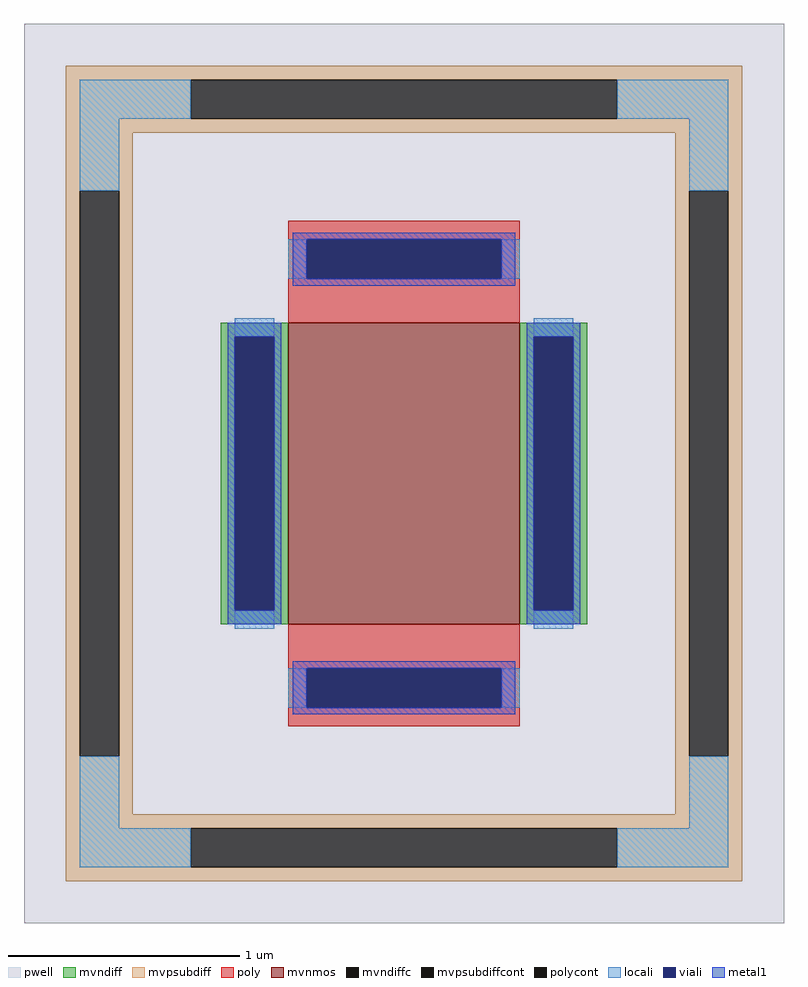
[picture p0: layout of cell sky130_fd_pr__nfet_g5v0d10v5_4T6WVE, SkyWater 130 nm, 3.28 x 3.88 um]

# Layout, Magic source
magic
tech sky130A
<< pwell >>
rect -164 -194 164 194
<< mvnmos >>
rect -50 -65 50 65
<< mvndiff >>
rect -79 59 -50 65
rect -79 -59 -73 59
rect -56 -59 -50 59
rect -79 -65 -50 -59
rect 50 59 79 65
rect 50 -59 56 59
rect 73 -59 79 59
rect 50 -65 79 -59
<< mvndiffc >>
rect -73 -59 -56 59
rect 56 -59 73 59
<< mvpsubdiff >>
rect -146 170 146 176
rect -146 153 -92 170
rect 92 153 146 170
rect -146 147 146 153
rect -146 122 -117 147
rect -146 -122 -140 122
rect -123 -122 -117 122
rect 117 122 146 147
rect -146 -147 -117 -122
rect 117 -122 123 122
rect 140 -122 146 122
rect 117 -147 146 -122
rect -146 -153 146 -147
rect -146 -170 -92 -153
rect 92 -170 146 -153
rect -146 -176 146 -170
<< mvpsubdiffcont >>
rect -92 153 92 170
rect -140 -122 -123 122
rect 123 -122 140 122
rect -92 -170 92 -153
<< poly >>
rect -50 101 50 109
rect -50 84 -42 101
rect 42 84 50 101
rect -50 65 50 84
rect -50 -84 50 -65
rect -50 -101 -42 -84
rect 42 -101 50 -84
rect -50 -109 50 -101
<< polycont >>
rect -42 84 42 101
rect -42 -101 42 -84
<< locali >>
rect -140 153 -92 170
rect 92 153 140 170
rect -140 122 -123 153
rect 123 122 140 153
rect -50 84 -42 101
rect 42 84 50 101
rect -73 59 -56 67
rect -73 -67 -56 -59
rect 56 59 73 67
rect 56 -67 73 -59
rect -50 -101 -42 -84
rect 42 -101 50 -84
rect -140 -153 -123 -122
rect 123 -153 140 -122
rect -140 -170 -92 -153
rect 92 -170 140 -153
<< viali >>
rect -42 84 42 101
rect -73 -59 -56 59
rect 56 -59 73 59
rect -42 -101 42 -84
<< metal1 >>
rect -48 101 48 104
rect -48 84 -42 101
rect 42 84 48 101
rect -48 81 48 84
rect -76 59 -53 65
rect -76 -59 -73 59
rect -56 -59 -53 59
rect -76 -65 -53 -59
rect 53 59 76 65
rect 53 -59 56 59
rect 73 -59 76 59
rect 53 -65 76 -59
rect -48 -84 48 -81
rect -48 -101 -42 -84
rect 42 -101 48 -84
rect -48 -104 48 -101
<< properties >>
string FIXED_BBOX -131 -161 131 161
string gencell sky130_fd_pr__nfet_g5v0d10v5
string library sky130
string parameters w 1.3 l 1 m 1 nf 1 diffcov 100 polycov 100 guard 1 glc 1 grc 1 gtc 1 gbc 1 tbcov 100 rlcov 100 topc 1 botc 1 poverlap 0 doverlap 1 lmin 0.50 wmin 0.42 compatible {sky130_fd_pr__nfet_01v8 sky130_fd_pr__nfet_01v8_lvt  sky130_fd_bs_flash__special_sonosfet_star  sky130_fd_pr__nfet_g5v0d10v5 sky130_fd_pr__nfet_05v0_nvt  sky130_fd_pr__nfet_03v3_nvt} full_metal 1 viasrc 100 viadrn 100 viagate 100 viagb 0 viagr 0 viagl 0 viagt 0
<< end >>
